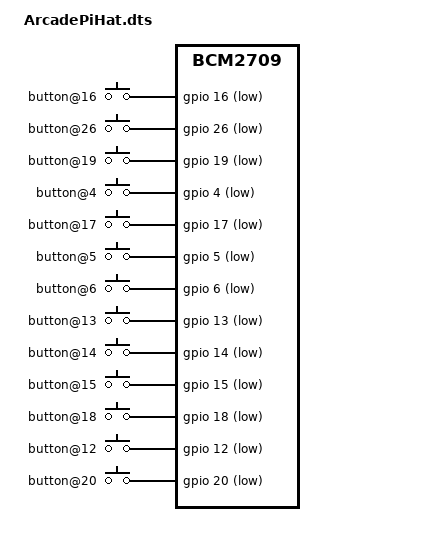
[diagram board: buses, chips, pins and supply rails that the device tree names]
/dts-v1/;
/plugin/;

/ {
    compatible = "brcm,bcm2835", "brcm,bcm2708", "brcm,bcm2709";
    #address-cells = <1>;
    #size-cells = <0>;

    fragment@0 {
        reg = <0>;
        target = <&gpio>;
        __overlay__ {
            pins {
                brcm,pins = <4 5 6 12 13 14 15 16 17 18 19 20 26>;
                brcm,function = <0>;
                brcm,pull = <2>;
            };
        };
    };

    fragment@1 {
        reg = <1>;
        target-path = "/soc";
        __overlay__ {
            buttons {
                compatible = "gpio-keys";
                #address-cells = <1>;
                #size-cells = <0>;

                button@16 { //Player 1 Up
                    reg = <16>;
                    gpios = <&gpio 16 1>;
                    linux,code = <103>;
                };
                button@26 { //Player 1 Down
                    reg = <26>;
                    gpios = <&gpio 26 1>;
                    linux,code = <108>;
                };
                button@19 { //Player 1 Right
                    reg = <19>;
                    gpios = <&gpio 19 1>;
                    linux,code = <106>;
                };
                button@4 { //Player 1 Left
                    reg = <4>;
                    gpios = <&gpio 4 1>;
                    linux,code = <105>;
                };
                button@17 { //Player 1 Hotkey
                    reg = <17>;
                    gpios = <&gpio 17 1>;
                    linux,code = <KEY_H>;
                };
                button@5 { //Player 1 Select
                    reg = <5>;
                    gpios = <&gpio 5 1>;
                    linux,code = <KEY_SELECT>;
                };
                button@6 { //Player 1 Start
                    reg = <6>;
                    gpios = <&gpio 6 1>;
                    linux,code = <KEY_START>;
                };
                button@13 { //Player 1 R
                    reg = <13>;
                    gpios = <&gpio 13 1>;
                    linux,code = <KEY_R>;
                };
                button@14 { //Player 1 A
                    reg = <14>;
                    gpios = <&gpio 14 1>;
                    linux,code = <KEY_A>;
                };
                button@15 { //Player 1 B
                    reg = <15>;
                    gpios = <&gpio 15 1>;
                    linux,code = <KEY_B>;
                };
                button@18 { //Player 1 Y
                    reg = <18>;
                    gpios = <&gpio 18 1>;
                    linux,code = <KEY_Y>;
                };
                button@12 { //Player 1 L
                    reg = <12>;
                    gpios = <&gpio 12 1>;
                    linux,code = <KEY_L>;
                };
                button@20 { //Player 1 X
                    reg = <20>;
                    gpios = <&gpio 20 1>;
                    linux,code = <KEY_X>;
                };
            };
        };
    };
};
